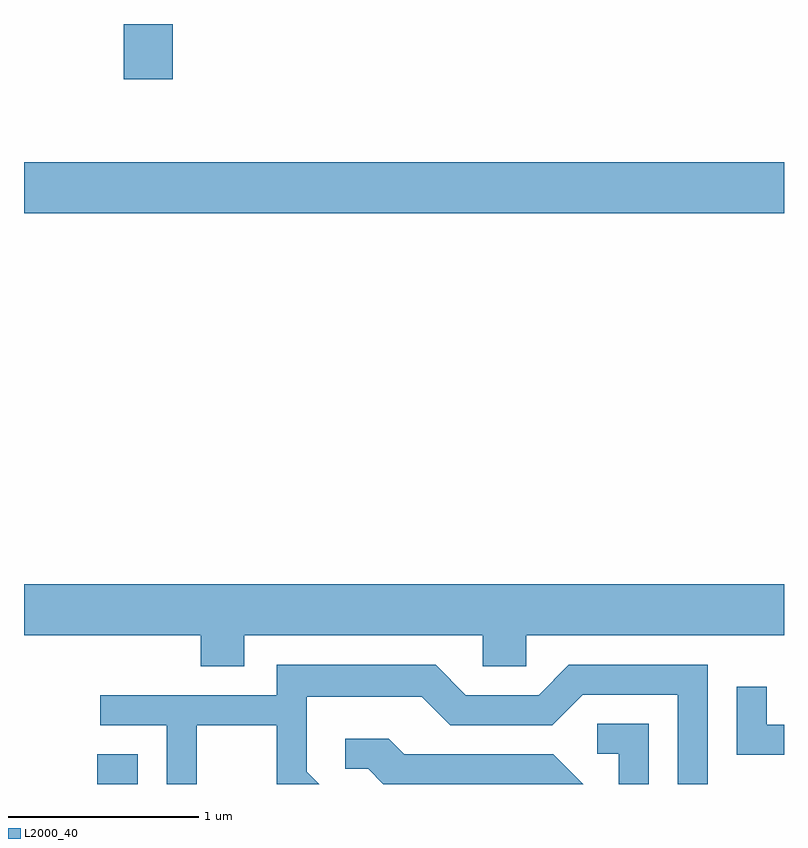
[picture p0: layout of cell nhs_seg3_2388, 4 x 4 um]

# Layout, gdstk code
import gdstk
lib = gdstk.Library(unit=1e-6, precision=1e-09)
def R(c, l, rs):  # rectangles x0, y0, x1, y1
    for r in rs: c.add(gdstk.rectangle(r[:2], r[2:], *l))
def P(c, l, *ps):  # polygons
    for p in ps: c.add(gdstk.Polygon(p, *l))
L2000_40 = (2000, 40)

nhs_seg3_2388 = lib.new_cell('nhs_seg3_2388')
R(nhs_seg3_2388, L2000_40, [(255.996,1131.892,256.209,1132.049), (255.611,1134.896,259.611,1135.164), (256.136,1135.601,256.394,1135.892)])
P(nhs_seg3_2388, L2000_40, [(256.769,1132.676),(258.026,1132.676),(258.026,1132.511),(258.254,1132.511),(258.254,1132.676),(259.611,1132.676),(259.611,1132.944),(255.611,1132.944),(255.611,1132.676),(256.541,1132.676),(256.541,1132.511),(256.769,1132.511)],
  [(256.519,1132.201),(256.941,1132.201),(256.941,1131.892),(257.164,1131.892),(257.099,1131.957),(257.099,1132.351),(257.704,1132.351),(257.854,1132.201),(258.392,1132.201),(258.552,1132.361),(259.051,1132.361),(259.051,1131.892),(259.209,1131.892),(259.209,1132.519),(258.479,1132.519),(258.319,1132.359),(257.937,1132.359),(257.777,1132.519),(256.941,1132.519),(256.941,1132.359),(256.013,1132.359),(256.013,1132.201),(256.361,1132.201),(256.361,1131.892),(256.519,1131.892)],
  [(259.611,1132.204),(259.519,1132.204),(259.519,1132.403),(259.361,1132.403),(259.361,1132.046),(259.611,1132.046)],
  [(258.899,1132.209),(258.628,1132.209),(258.628,1132.051),(258.741,1132.051),(258.741,1131.892),(258.899,1131.892)],
  [(258.397,1132.049),(257.611,1132.049),(257.532,1132.129),(257.303,1132.129),(257.303,1131.971),(257.424,1131.971),(257.503,1131.892),(258.554,1131.892)])

lib.write_gds('nhs_seg3_2388.gds')
